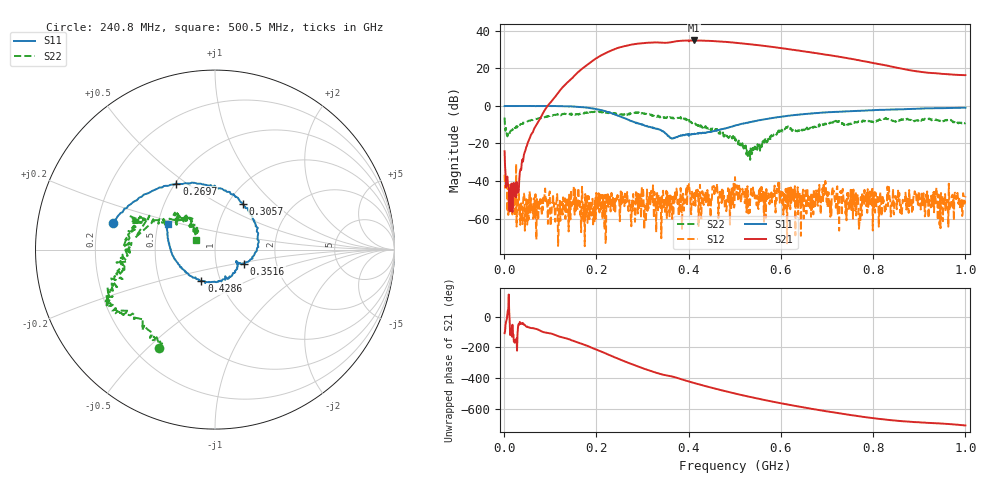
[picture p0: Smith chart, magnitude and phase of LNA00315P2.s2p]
! Created with skrf 1.9.0 (http://scikit-rf.org).
# Hz S RI R 50.0
!freq ReS11 ImS11 ReS21 ImS21 ReS12 ImS12 ReS22 ImS22
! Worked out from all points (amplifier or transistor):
!   1001 points, 1 MHz to 1 GHz, reference 50 ohm
!   highest |S21| = 34.9 dB at 410.6 MHz (marker M1)
!   |S21| within 3 dB of that: 262.2 MHz to 566.3 MHz (304.1 MHz wide, 73.4 % of centre) (the widest 1 of 2)
!   unconditionally stable (mu >= 1): start of sweep to 88.78 MHz; 121.1 MHz to 137.6 MHz; 222 MHz to end of sweep (the widest 3 of 26)
!   at 166.8 MHz: K = 10.41, MAG = 30.1 dB, |S12| = -67.3 dB
!   at 500.5 MHz: K = 1.05, MAG = 34.4 dB, |S12| = -37.9 dB
!   at 1 GHz: K = 3.57, MAG = 23.8 dB, |S12| = -48.1 dB
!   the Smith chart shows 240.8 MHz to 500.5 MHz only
!   S11 on the Smith chart (normalised r, x): 240.8 MHz: 0.26, +0.12; 269.7 MHz: 0.51, +0.46; 305.7 MHz: 1.17, +0.65; 351.6 MHz: 1.37, -0.23; 428.6 MHz: 0.81, -0.29; 500.5 MHz: 0.56, +0.18
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1000000  0.9915 0.00689  -0.019 -0.0587  -0.0084 0.012  0.3343 0.3589
1.08892e8  0.5127 -0.8526  -0.7688 -1.475  0.00185 0.00178  0.4271 -0.3901
1.67833e8  -0.255 -0.8941  -9.552 -0.5943  -0.00207 0.000622  0.0358 -0.6296
2.08792e8  -0.6836 -0.3767  -15.24 15.45  0.00267 -0.000912  -0.2001 -0.6573
2.4076e8  -0.5705 0.1494  -2.11 33.17  -0.00144 -0.000518  -0.3093 -0.5509
2.69731e8  -0.2153 0.3667  21.91 35.06  0.00148 -0.000513  -0.4956 -0.3604
2.85715e8  -0.0239 0.3598  34.42 28.92  -0.00314 0.00395  -0.5991 -0.317
3.05695e8  0.1561 0.2538  45.16 14.71  0.000307 0.00215  -0.5651 -0.2205
3.34666e8  0.2416 0.0142  48.17 -9.109  -0.00047 0.00399  -0.5102 -0.0865
3.51649e8  0.1629 -0.08  44.12 -19.29  -0.00221 0.00501  -0.4738 -0.0169
3.77623e8  0.1266 -0.0887  39.81 -35.99  0.000977 0.00164  -0.448 0.1696
4.1059e8  0.0215 -0.1761  17.01 -52.97  -0.000921 0.00209  -0.3118 0.1672
4.28572e8  -0.0761 -0.174  3.066 -55.05  0.00338 0.00285  -0.2234 0.1748
4.59541e8  -0.2069 -0.0783  -19.48 -49.31  0.00421 0.00465  -0.1657 0.179
5.005e8  -0.2638 0.1416  -38.33 -30.03  0.0106 -0.007  -0.1082 0.056
5.4046e8  -0.1861 0.3402  -42.15 -8.271  0.00457 0.000998  -0.073 -0.0234
5.88412e8  0.0212 0.4896  -34.42 11.93  0.00114 -0.000882  -0.1346 -0.1158
6.26374e8  0.2039 0.5269  -23.88 20.37  0.00438 -0.00391  -0.1674 -0.1331
6.67333e8  0.3983 0.4877  -12.22 23.34  0.00174 -0.000377  -0.2433 -0.0779
7.51249e8  0.668 0.2879  3.952 17.71  -0.00214 -0.00537  -0.342 9.77e-05
8.34166e8  0.7922 0.0348  8.14 8.252  -0.00411 -0.00561  -0.4259 0.0648
1e9  0.7386 -0.5115  6.547 1.084  -0.00166 -0.00355  -0.1616 0.3128
